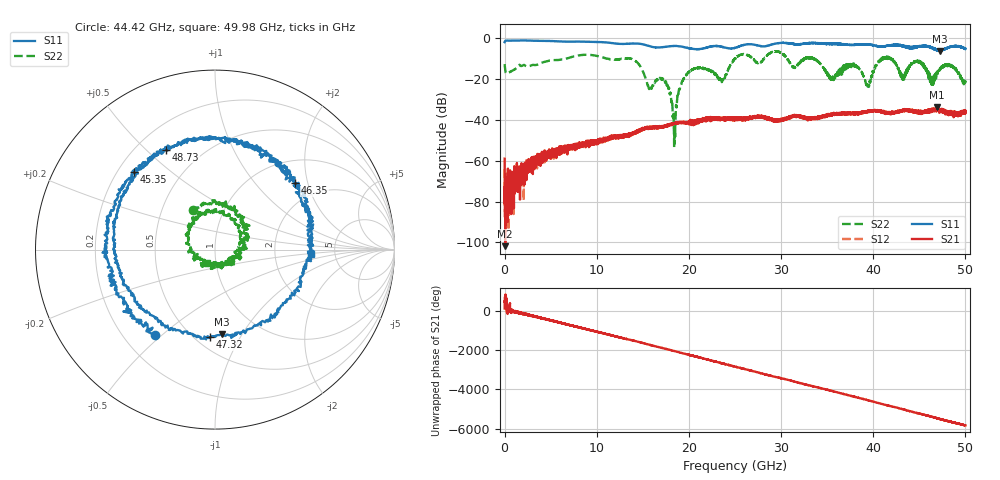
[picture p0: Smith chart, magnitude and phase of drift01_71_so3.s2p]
!Created with skrf (http://scikit-rf.org).
# Hz S RI R 50.0
!freq ReS11 ImS11 ReS21 ImS21 ReS12 ImS12 ReS22 ImS22
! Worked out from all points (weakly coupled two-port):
!   10001 points, 300 kHz to 50 GHz, reference 50 ohm
!   highest |S21| = -34.03 dB at 46.94 GHz (marker M1); lowest = -101.8 dB at 70.3 MHz (marker M2)
!   lowest |S11| = -6.5 dB at 47.28 GHz (marker M3), VSWR 2.81, Z = 33.8 - j41.3 ohm
!   |S11| at or under -10 dB: nowhere
!   |S22| runs from -53.5 to -6.6 dB; largest |S21 - S12| = 0.0037
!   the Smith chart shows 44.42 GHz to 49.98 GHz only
!   S11 on the Smith chart (normalised r, x): 44.42 GHz: 0.33, -0.47; 45.35 GHz: 0.27, +0.38; 46.35 GHz: 1.50, +1.67; 47.32 GHz: 0.59, -0.75; 48.73 GHz: 0.32, +0.58; 49.98 GHz: 3.26, -0.21
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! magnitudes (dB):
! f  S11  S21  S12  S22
! 300 kHz  -2.2  -59.1  -64.2  -12.9
! 70.3 MHz  -1.5  -101.8  -75.8  -15.9
! 8.335 GHz  -1.9  -53.0  -52.8  -8.5
! 16.67 GHz  -4.8  -43.6  -43.7  -20.0
! 17.67 GHz  -4.4  -42.7  -42.7  -22.9
! 18.45 GHz  -4.0  -42.0  -42.3  -42.8
! 19.95 GHz  -5.1  -41.6  -41.5  -16.9
! 23.63 GHz  -4.5  -39.3  -39.8  -20.8
! 25 GHz  -5.0  -39.1  -40.0  -10.2
! 33.34 GHz  -2.6  -39.0  -39.2  -10.0
! 39.43 GHz  -3.3  -35.7  -36.1  -23.8
! 41.67 GHz  -3.8  -37.0  -36.6  -10.0
! 43.19 GHz  -4.0  -35.3  -35.6  -20.2
! 44.42 GHz  -4.7  -35.7  -36.1  -11.9
! 45.35 GHz  -4.1  -36.1  -36.8  -13.4
! 46.35 GHz  -4.7  -35.9  -35.5  -22.5
! 46.94 GHz  -6.2  -34.0  -35.5  -16.9
! 47.28 GHz  -6.5  -35.3  -35.9  -14.9
! 47.32 GHz  -6.2  -35.9  -35.3  -15.0
! 48.73 GHz  -4.2  -37.7  -36.7  -14.8
! 49.98 GHz  -5.5  -36.0  -36.8  -21.1
! 50 GHz  -5.4  -36.2  -36.0  -22.2
